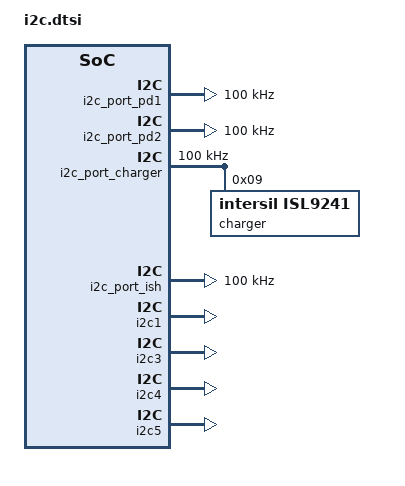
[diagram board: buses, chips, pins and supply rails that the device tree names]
/* Copyright 2025 The ChromiumOS Authors
 * Use of this source code is governed by a BSD-style license that can be
 * found in the LICENSE file.
 */

&i2c_port_pd1 {
	label = "I2C_PORT_PD";
	clock-frequency = <I2C_BITRATE_STANDARD>;
};

&i2c_port_pd2 {
	/* Port not used. All PDCs on bus i2c_port_pd1 */
	label = "I2C_PORT_PD_SPARE";
	clock-frequency = <I2C_BITRATE_STANDARD>;
};

&i2c_port_charger {
	label = "I2C_PORT_CHARGER";
	clock-frequency = <I2C_BITRATE_STANDARD>;

	charger: raa489@9 {
		compatible = "intersil,isl9241";
		status = "okay";
		reg = <0x9>;
	};
};

&i2c_port_ish {
	label = "I2C_PORT_ISH";
	clock-frequency = <I2C_BITRATE_STANDARD>;
};

&i2c1 {
	status = "okay";
	pinctrl-0 = <&i2c1_clk_gpc1_default
		&i2c1_data_gpc2_default>;
	pinctrl-names = "default";
};

&i2c3 {
	status = "okay";
	pinctrl-0 = <&i2c3_clk_gph1_default
		&i2c3_data_gph2_default>;
	pinctrl-names = "default";
};

&i2c4 {
	status = "okay";
	pinctrl-0 = <&i2c4_clk_gpe0_default
		&i2c4_data_gpe7_default>;
	pinctrl-names = "default";
};

&i2c5 {
	status = "okay";
	pinctrl-0 = <&i2c5_clk_gpe1_default
		&i2c5_data_gpe2_default>;
	pinctrl-names = "default";
};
